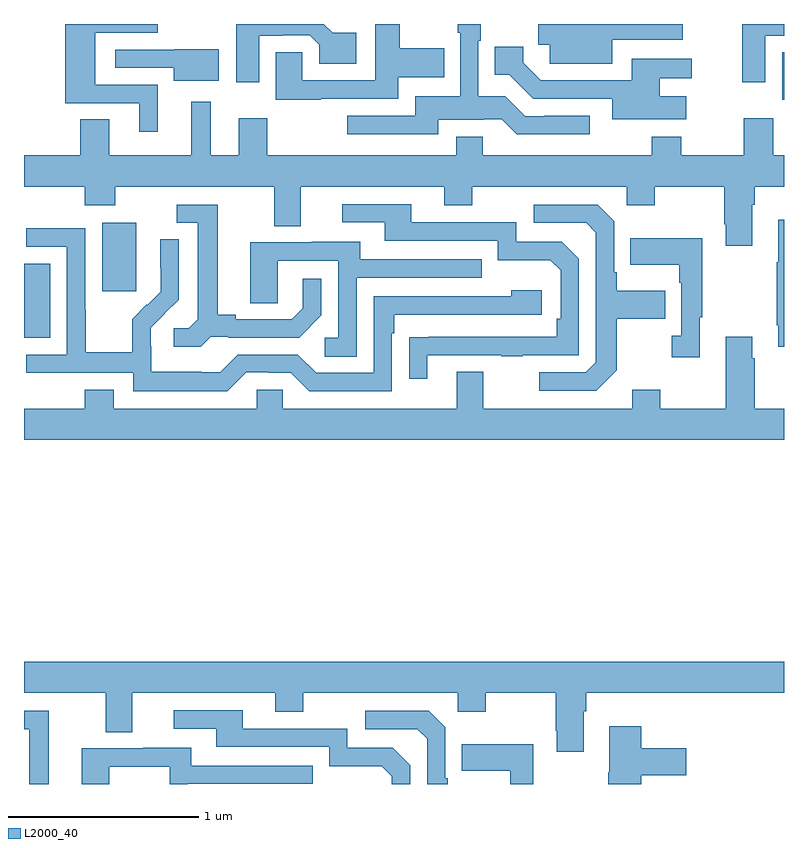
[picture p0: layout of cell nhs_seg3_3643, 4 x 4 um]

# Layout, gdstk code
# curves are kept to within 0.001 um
import gdstk
lib = gdstk.Library(unit=1e-6, precision=1e-09)
def R(c, l, rs):  # rectangles x0, y0, x1, y1
    for r in rs: c.add(gdstk.rectangle(r[:2], r[2:], *l))
def P(c, l, *ps):  # polygons
    for p in ps: c.add(gdstk.Polygon(p, *l))
L2000_40 = (2000, 40)

nhs_seg3_3643 = lib.new_cell('nhs_seg3_3643')
R(nhs_seg3_3643, L2000_40, [(299,738.749,299.137,739.138), (299.411,738.993,299.59,739.354), (302.99,740.002,303,740.252)])
P(nhs_seg3_3643, L2000_40, [(302.095,740.316),(302.467,740.316),(302.467,740.4),(301.707,740.4),(301.707,740.291),(301.766,740.291),(301.766,740.192),(302.095,740.192)],
  [(299.704,740.079),(299.374,740.079),(299.374,740.354),(299.704,740.354),(299.704,740.4),(299.216,740.4),(299.216,739.983),(299.606,739.983),(299.606,739.833),(299.704,739.833)],
  [(301.978,739.917),(301.738,739.917),(301.738,739.914),(301.638,739.914),(301.533,740.019),(301.392,740.019),(301.392,740.312),(301.403,740.312),(301.403,740.4),(301.284,740.4),(301.284,740.354),(301.296,740.354),(301.296,740.02),(301.058,740.02),(301.058,739.917),(300.702,739.917),(300.702,739.821),(301.18,739.821),(301.18,739.895),(301.421,739.895),(301.421,739.899),(301.515,739.899),(301.594,739.82),(301.978,739.82)],
  [(300.562,740.007),(300.97,740.007),(300.97,740.12),(301.211,740.12),(301.211,740.272),(300.978,740.272),(300.978,740.4),(300.848,740.4),(300.848,740.103),(300.465,740.103),(300.465,740.252),(300.326,740.252),(300.326,740.002),(300.562,740.002)],
  [(300.238,740.337),(300.362,740.337),(300.362,740.34),(300.504,740.34),(300.554,740.29),(300.554,740.192),(300.748,740.192),(300.748,740.353),(300.624,740.353),(300.577,740.4),(300.116,740.4),(300.116,740.094),(300.238,740.094)],
  [(302.902,740.337),(303,740.337),(303,740.4),(302.78,740.4),(302.78,740.094),(302.902,740.094)],
  [(302.485,740.02),(302.346,740.02),(302.346,740.114),(302.515,740.114),(302.515,740.218),(302.198,740.218),(302.198,740.103),(301.719,740.103),(301.627,740.195),(301.627,740.28),(301.477,740.28),(301.477,740.132),(301.554,740.132),(301.679,740.007),(302.096,740.007),(302.096,739.898),(302.485,739.898)],
  [(300.025,740.266),(299.793,740.266),(299.793,740.265),(299.481,740.265),(299.481,740.169),(299.789,740.169),(299.789,740.102),(300.025,740.102)],
  [(299.297,739.708),(299,739.708),(299,739.544),(299.321,739.544),(299.321,739.445),(299.481,739.445),(299.481,739.544),(300.317,739.544),(300.317,739.336),(300.457,739.336),(300.457,739.544),(301.211,739.544),(301.211,739.445),(301.359,739.445),(301.359,739.544),(302.172,739.544),(302.172,739.445),(302.319,739.445),(302.319,739.544),(302.686,739.544),(302.686,739.345),(302.693,739.345),(302.693,739.233),(302.833,739.233),(302.833,739.448),(302.846,739.448),(302.846,739.544),(303,739.544),(303,739.708),(302.943,739.708),(302.943,739.903),(302.788,739.903),(302.788,739.708),(302.46,739.708),(302.46,739.807),(302.305,739.807),(302.305,739.708),(301.414,739.708),(301.414,739.807),(301.274,739.807),(301.274,739.708),(300.279,739.708),(300.279,739.903),(300.131,739.903),(300.131,739.708),(299.983,739.708),(299.983,739.99),(299.879,739.99),(299.879,739.708),(299.449,739.708),(299.449,739.898),(299.297,739.898)],
  [(301.123,738.657),(301.513,738.657),(301.513,738.652),(301.625,738.652),(301.625,738.657),(301.92,738.657),(301.92,739.164),(301.83,739.254),(301.59,739.254),(301.59,739.356),(301.039,739.356),(301.039,739.452),(300.675,739.452),(300.675,739.356),(300.899,739.356),(300.899,739.26),(301.494,739.26),(301.494,739.157),(301.771,739.157),(301.824,739.104),(301.824,738.85),(301.804,738.85),(301.804,738.753),(301.027,738.752),(301.027,738.534),(301.123,738.534)],
  [(302.119,738.577),(302.119,738.85),(302.375,738.85),(302.375,738.997),(302.119,738.997),(302.119,739.093),(302.106,739.093),(302.106,739.362),(302.019,739.449),(301.683,739.449),(301.683,739.353),(301.959,739.353),(302.01,739.302),(302.01,738.621),(301.956,738.567),(301.713,738.567),(301.713,738.471),(302.013,738.471)],
  [(299.982,738.753),(300.076,738.753),(300.076,738.75),(300.448,738.75),(300.564,738.866),(300.564,739.06),(300.467,739.06),(300.467,738.903),(300.41,738.846),(300.115,738.846),(300.115,738.869),(300.019,738.869),(300.019,739.449),(299.805,739.449),(299.805,739.353),(299.915,739.353),(299.915,738.845),(299.868,738.798),(299.787,738.798),(299.787,738.701),(299.93,738.701)],
  [(303,739.369),(302.969,739.369),(302.969,739.145),(302.962,739.145),(302.962,738.814),(302.969,738.814),(302.969,738.702),(303,738.702)],
  [(300.171,738.567),(300.287,738.567),(300.287,738.564),(300.405,738.564),(300.501,738.468),(300.936,738.468),(300.936,738.773),(300.949,738.773),(300.949,738.87),(301.726,738.87),(301.726,739),(301.565,739),(301.565,738.966),(300.84,738.966),(300.84,738.564),(300.537,738.564),(300.441,738.66),(300.126,738.66),(300.033,738.567),(299.933,738.567),(299.933,738.571),(299.67,738.571),(299.67,738.705),(299.668,738.705),(299.668,738.802),(299.814,738.95),(299.814,739.268),(299.718,739.268),(299.718,739.114),(299.72,739.114),(299.72,738.992),(299.649,738.921),(299.646,738.924),(299.569,738.847),(299.569,738.673),(299.325,738.673),(299.325,738.896),(299.322,738.896),(299.322,739.326),(299.013,739.326),(299.013,739.227),(299.226,739.227),(299.226,738.66),(299.013,738.66),(299.013,738.564),(299.574,738.564),(299.574,738.467),(300.071,738.467)],
  [(302.557,738.857),(302.569,738.857),(302.569,739.273),(302.191,739.273),(302.191,739.133),(302.448,739.133),(302.448,739.037),(302.46,739.037),(302.46,738.758),(302.409,738.758),(302.409,738.645),(302.557,738.645)],
  [(300.75,739.065),(301.409,739.065),(301.409,739.161),(300.769,739.161),(300.769,739.255),(300.515,739.255),(300.515,739.251),(300.191,739.251),(300.191,738.931),(300.336,738.931),(300.336,739.155),(300.654,739.155),(300.654,738.75),(300.582,738.75),(300.582,738.649),(300.75,738.649)],
  [(302.201,738.475),(302.201,738.376),(301.417,738.376),(301.417,738.571),(301.277,738.571),(301.277,738.376),(300.363,738.376),(300.363,738.474),(300.225,738.474),(300.225,738.376),(299.473,738.376),(299.473,738.475),(299.321,738.475),(299.321,738.376),(299,738.376),(299,738.212),(303,738.212),(303,738.376),(302.846,738.376),(302.846,738.641),(302.833,738.641),(302.833,738.754),(302.693,738.754),(302.693,738.376),(302.349,738.376),(302.349,738.475)],
  [(301.945,736.784),(301.958,736.784),(301.958,736.88),(303,736.88),(303,737.044),(299,737.044),(299,736.88),(299.429,736.88),(299.429,736.672),(299.569,736.672),(299.569,736.88),(300.323,736.88),(300.323,736.781),(300.471,736.781),(300.471,736.88),(301.284,736.88),(301.284,736.781),(301.431,736.781),(301.431,736.88),(301.798,736.88),(301.798,736.681),(301.805,736.681),(301.805,736.569),(301.945,736.569)],
  [(301.032,736.5),(300.942,736.59),(300.702,736.59),(300.702,736.692),(300.151,736.692),(300.151,736.788),(299.787,736.788),(299.787,736.692),(300.011,736.692),(300.011,736.596),(300.606,736.596),(300.606,736.493),(300.883,736.493),(300.936,736.44),(300.936,736.4),(301.032,736.4)],
  [(301.231,736.429),(301.218,736.429),(301.218,736.698),(301.131,736.785),(300.795,736.785),(300.795,736.689),(301.071,736.689),(301.122,736.638),(301.122,736.4),(301.231,736.4)],
  [(299.131,736.785),(299,736.785),(299,736.689),(299.027,736.689),(299.027,736.4),(299.131,736.4)],
  [(302.249,736.445),(302.485,736.445),(302.485,736.587),(302.249,736.587),(302.249,736.705),(302.081,736.705),(302.081,736.461),(302.074,736.461),(302.074,736.4),(302.249,736.4)],
  [(301.681,736.609),(301.303,736.609),(301.303,736.469),(301.56,736.469),(301.56,736.4),(301.681,736.4)],
  [(299.448,736.491),(299.766,736.491),(299.766,736.4),(299.862,736.4),(299.862,736.401),(300.521,736.401),(300.521,736.497),(299.881,736.497),(299.881,736.591),(299.627,736.591),(299.627,736.587),(299.303,736.587),(299.303,736.4),(299.448,736.4)])

lib.write_gds('nhs_seg3_3643.gds')
